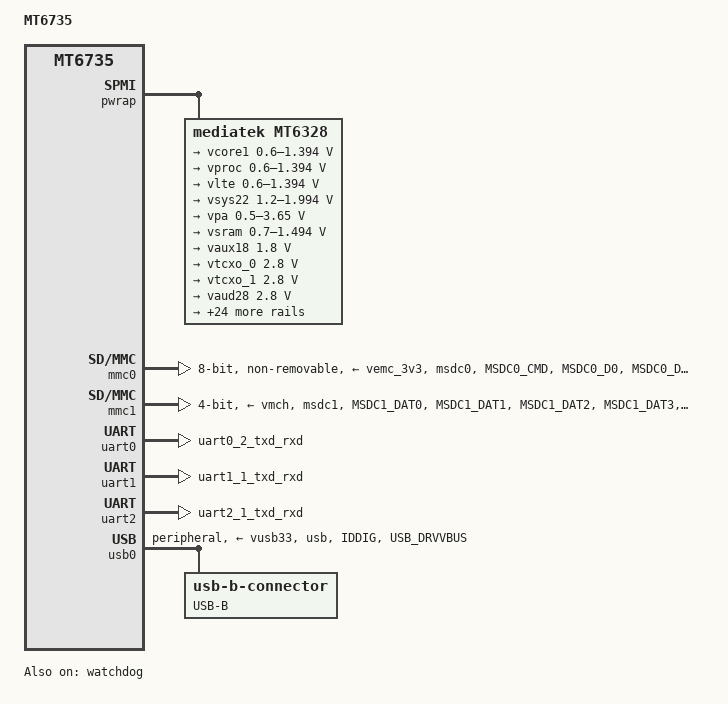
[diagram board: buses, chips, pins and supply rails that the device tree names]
/*
 * Copyright (C) 2018 MediaTek Inc.
 * Author: Ryder Lee <ryder.lee@mediatek.com>
 *
 * SPDX-License-Identifier: (GPL-2.0 OR MIT)
 */

/dts-v1/;
#include "mt6735.dtsi"
#include "mt6735-u-boot.dtsi"

/ {
    #address-cells = <1>;
    #size-cells = <1>;
	model = "MT6735";
	compatible = "mediatek,test", "mediatek,mt6735";

	chosen {
		stdout-path = &uart0;
		};
        
    aliases {
        mmc1 = "/mmc@11230000";
        mmc0 = "/mmc@11240000";
    };
    
    reserved-memory {
        #address-cells = <1>;
        #size-cells = <1>;
        ranges;

       /* 128 KiB reserved for ARM Trusted Firmware (BL31) */
        secmon_reserved: secmon@43000000 {
            reg = <0x43000000 0x20000>;
            no-map;
        };
    };
};

&pwrap {
    status = "okay";

    mt6328: pmic {
		compatible = "mediatek,mt6328";
		interrupt-controller;
//      interrupt-parent = <&pio>;
		interrupts = <GIC_SPI 163 IRQ_TYPE_LEVEL_HIGH>;
		#interrupt-cells = <2>;
        u-boot,dm-pre-reloc;

		regulators {
        
			vcore1: buck_vcore1 {
						regulator-name = "buck_vcore1";
						regulator-always-on;
						regulator-min-microvolt = <600000>;
						regulator-max-microvolt = <1393750>;
                        u-boot,dm-pre-reloc;
                };
                
			vproc: buck_vproc {
						regulator-name = "buck_vproc";
						regulator-always-on;
						regulator-min-microvolt = <600000>;
						regulator-max-microvolt = <1393750>;
                        u-boot,dm-pre-reloc;
                };
                
			vlte: buck_vlte {
						regulator-name = "buck_vlte";
						regulator-always-on;
						regulator-min-microvolt = <600000>;
						regulator-max-microvolt = <1393750>;
                        u-boot,dm-pre-reloc;
                };
                
			vsys22: buck_vsys22 {
						regulator-name = "buck_vsys22";
						regulator-min-microvolt = <1200000>;
						regulator-max-microvolt = <1993750>;
						regulator-ramp-delay = <6250>;
						regulator-enable-ramp-delay = <180>;
						regulator-always-on;
						regulator-boot-on;
                        u-boot,dm-pre-reloc;
				};
                
			vpa: buck_vpa {
						regulator-name = "buck_vpa";
						regulator-min-microvolt = <500000>;
						regulator-max-microvolt = <3650000>;
						regulator-ramp-delay = <50000>;
						regulator-enable-ramp-delay = <180>;
                        u-boot,dm-pre-reloc;
				};
                
			vsram: buck_vsram {
						regulator-name = "buck_vsram";
						regulator-min-microvolt = <700000>;
						regulator-max-microvolt = <1493750>;
						regulator-enable-ramp-delay = <220>;
						regulator-ramp-delay = <6250>;
						regulator-boot-on;
                        u-boot,dm-pre-reloc;
				};
                
			vaux18: fixed_ldo_vaux18 {
						regulator-name = "fixed_ldo_vaux18";
						regulator-min-microvolt = <1800000>;
						regulator-max-microvolt = <1800000>;
						regulator-enable-ramp-delay = <264>;
						regulator-boot-on;
                        u-boot,dm-pre-reloc;
				};

			vtcxo_0: fixed_ldo_vtcxo_0 {
						regulator-name = "fixed_ldo_vtcxo_0";
						regulator-min-microvolt = <2800000>;
						regulator-max-microvolt = <2800000>;
						regulator-enable-ramp-delay = <110>;
						regulator-boot-on;
                        u-boot,dm-pre-reloc;
				};
                
			vtcxo_1: fixed_ldo_vtcxo_1 {
						regulator-name = "fixed_ldo_vtcxo_1";
						regulator-min-microvolt = <2800000>;
						regulator-max-microvolt = <2800000>;
						regulator-enable-ramp-delay = <110>;
                        u-boot,dm-pre-reloc;
				};
                
			vaud28: fixed_ldo_vaud28 {
						regulator-name = "fixed_ldo_vaud28";
						regulator-min-microvolt = <2800000>;
						regulator-max-microvolt = <2800000>;
						regulator-enable-ramp-delay = <264>;
						regulator-boot-on;
                        u-boot,dm-pre-reloc;
				};
                
			vcn28: fixed_ldo_vcn28 {
						regulator-name = "fixed_ldo_vcn28";
						regulator-min-microvolt = <2800000>;
						regulator-max-microvolt = <2800000>;
						regulator-enable-ramp-delay = <264>;
                        u-boot,dm-pre-reloc;
				};
                
			vcama: ldo_vcama {
						regulator-name = "ldo_vcama";
						regulator-min-microvolt = <1500000>;
						regulator-max-microvolt = <2800000>;
						regulator-enable-ramp-delay = <264>;
                        u-boot,dm-pre-reloc;
				};
                
			vcn33_bt: ldo_vcn33_bt {
						regulator-name = "ldo_vcn33_bt";
						regulator-min-microvolt = <3300000>;
						regulator-max-microvolt = <3600000>;
						regulator-enable-ramp-delay = <264>;
                        u-boot,dm-pre-reloc;
				};
                
			vcn33_wifi: ldo_vcn33_wifi {
						regulator-name = "ldo_vcn33_wifi";
						regulator-min-microvolt = <3300000>;
						regulator-max-microvolt = <3600000>;
						regulator-enable-ramp-delay = <264>;
                        u-boot,dm-pre-reloc;
				};
                
			vusb33: ldo_vusb33 {
						regulator-name = "ldo_vusb33";
						regulator-min-microvolt = <3300000>;
						regulator-max-microvolt = <3300000>;
						regulator-enable-ramp-delay = <264>;
						regulator-boot-on;
                        u-boot,dm-pre-reloc;
				};
                
			vefuse: ldo_vefuse {
						regulator-name = "ldo_vefuse";
						regulator-min-microvolt = <1800000>;
						regulator-max-microvolt = <2200000>;
						regulator-enable-ramp-delay = <264>;
                        u-boot,dm-pre-reloc;
				};
                
			sim1: ldo_vsim1 {
						regulator-name = "ldo_vsim1";
						regulator-min-microvolt = <1700000>;
						regulator-max-microvolt = <2100000>;
						regulator-enable-ramp-delay = <264>;
                        u-boot,dm-pre-reloc;
				};
                
			sim2: ldo_vsim2 {
						regulator-name = "ldo_vsim2";
						regulator-min-microvolt = <1700000>;
						regulator-max-microvolt = <2100000>;
						regulator-enable-ramp-delay = <264>;
                        u-boot,dm-pre-reloc;
				};
                
			vemc_3v3: ldo_vemc3v3 {
						regulator-name = "ldo_vemc3v3";
						regulator-min-microvolt = <1800000>;
						regulator-max-microvolt = <3300000>;
						regulator-enable-ramp-delay = <264>;
						regulator-boot-on;
                        u-boot,dm-pre-reloc;
				};
                
			vmch: ldo_vmch {
						regulator-name = "ldo_vmch";
						regulator-min-microvolt = <2900000>;
						regulator-max-microvolt = <3300000>;
						regulator-enable-ramp-delay = <44>;
                        u-boot,dm-pre-reloc;
				};
                
			vtref: fixed_ldo_vtref {
						regulator-name = "fixed_ldo_vtref";
						regulator-min-microvolt = <1800000>;
						regulator-max-microvolt = <1800000>;
						regulator-enable-ramp-delay = <240>;
                        u-boot,dm-pre-reloc;
				};
                
			vmc: ldo_vmc {
						regulator-name = "ldo_vmc";
						regulator-min-microvolt = <1800000>;
						regulator-max-microvolt = <3300000>;
						regulator-enable-ramp-delay = <44>;
                        u-boot,dm-pre-reloc;
				};
                
			vcamaf: ldo_vcamaf {
						regulator-name = "ldo_vcamaf";
						regulator-min-microvolt = <1200000>;
						regulator-max-microvolt = <3300000>;
						regulator-enable-ramp-delay = <264>;
                        u-boot,dm-pre-reloc;
				};
                
			vio28: fixed_ldo_vio28 {
						regulator-name = "fixed_ldo_vio28";
						regulator-min-microvolt = <2800000>;
						regulator-max-microvolt = <2800000>;
						regulator-enable-ramp-delay = <264>;
						regulator-boot-on;
                        u-boot,dm-pre-reloc;
				};

			vrtc: fixed_ldo_vrtc {
						regulator-name = "fixed_ldo_vrtc";
						regulator-min-microvolt = <2800000>;
						regulator-max-microvolt = <2800000>;
						regulator-enable-ramp-delay = <264>;
						regulator-boot-on;
                        u-boot,dm-pre-reloc;
                };
                
			vgp1: ldo_vgp1 {
						regulator-name = "ldo_vgp1";
						regulator-min-microvolt = <1200000>;
						regulator-max-microvolt = <3300000>;
						regulator-enable-ramp-delay = <264>;
                        u-boot,dm-pre-reloc;
				};
                
			vibr: ldo_vibr {
						regulator-name = "ldo_vibr";
						regulator-min-microvolt = <1200000>;
						regulator-max-microvolt = <3300000>;
						regulator-enable-ramp-delay = <44>;
                        u-boot,dm-pre-reloc;
				};
                
			vcamd: ldo_vcamd {
						regulator-name = "ldo_vcamd";
						regulator-min-microvolt = <900000>;
						regulator-max-microvolt = <1500000>;
						regulator-enable-ramp-delay = <264>;
                        u-boot,dm-pre-reloc;
				};
                
			vrf18_0: fixed_ldo_vrf18_0 {
						regulator-name = "fixed_ldo_vrf18_0";
						regulator-min-microvolt = <1825000>;
						regulator-max-microvolt = <1825000>;
						regulator-enable-ramp-delay = <220>;
                        u-boot,dm-pre-reloc;
				};
                
			vrf18_1: fixed_ldo_vrf18_1 {
						regulator-name = "fixed_ldo_vrf18_1";
						regulator-min-microvolt = <1200000>;
						regulator-max-microvolt = <1825000>;
						regulator-enable-ramp-delay = <220>;
                        u-boot,dm-pre-reloc;
				};
                
			vio18: fixed_ldo_vio18 {
						regulator-name = "fixed_ldo_vio18";
						regulator-min-microvolt = <1800000>;
						regulator-max-microvolt = <1800000>;
						regulator-enable-ramp-delay = <264>;
						regulator-boot-on;
                        u-boot,dm-pre-reloc;
				};
                
			vcn18: fixed_ldo_vcn18 {
						regulator-name = "fixed_ldo_vcn18";
						regulator-min-microvolt = <1800000>;
						regulator-max-microvolt = <1800000>;
						regulator-enable-ramp-delay = <44>;
                        u-boot,dm-pre-reloc;
				};
                
			vcamio: ldo_vcamio {
						regulator-name = "ldo_vcamio";
						regulator-min-microvolt = <1200000>;
						regulator-max-microvolt = <1800000>;
						regulator-enable-ramp-delay = <220>;
                        u-boot,dm-pre-reloc;
				};
                
			vm: ldo_vm {
						regulator-name = "ldo_vm";
						regulator-min-microvolt = <1240000>;
						regulator-max-microvolt = <1540000>;
						regulator-enable-ramp-delay = <264>;
						regulator-boot-on;
                        u-boot,dm-pre-reloc;
                };
            };
            
		devices {
        
            keys: mt6328_keys {
				compatible = "mediatek,mt6328_keys";
				#gpio-cells = <2>;
				gpio-controller;
                u-boot,dm-pre-reloc;
            };
        };
    };
};

&dramc {
    emi_cona = <0x2a052>;       /* 0x10203000 */
    drvctrl0 = <0xaa00aa00>;    /* 0x102140b8 */
    drvctrl1 = <0xaa00aa00>;    /* 0x102140bc */
    actim = <0x559a45d6>;       /* 0x10214000 */
    gddr3ctl = <0x1000000>;     /* 0x102140f4 */
    conf1 = <0xf0048683>;       /* 0x10214004 */
    ddr2ctl = <0xc00641d1>;     /* 0x1021407c */
    test2_1 = <0x55000000>;     /* 0x1020e03c */
    test2_2 = <0x3ff>;          /* 0x1020e040 */
    test2_3 = <0xbf0b0401>;     /* 0x10214044 */
    conf2 = <0x180ae50>;        /* 0x10214008 */
    pd_ctrl = <0xd1644742>;     /* 0x102141dc */
    padctl3 = <0x10>;           /* 0x10213014 */
    padctl4 = <0x11>;           /* 0x102140e4 */
    actim1 = <0x11001330>;      /* 0x102141e8 */
    misctl0 = <0x17800000>;     /* 0x102140fc */
    actim05t = <0x1420>;        /* 0x102141f8 */
    modereg1 = <0xc30001>;      /* 0x10214088 */
    modereg2 = <0x80002>;       /* 0x10214088 */
    modereg3 = <0x20003>;       /* 0x10214088 */
    modereg5 = <0x1>;           /* 0x10214088 */
    modereg10 = <0xff000a>;     /* 0x10214088 */
    modereg63 = <0x3f>;         /* 0x10214088 */
    dqsctl1 = <0x1c004004>;     /* 0x102140e0 */
    dqsgctl = <0xaa0800aa>;     /* 0x10213140 */
    dqidly1 = <0x80c0b09>;      /* 0x10214210 */
    dqidly2 = <0xe0f0b0e>;      /* 0x10214214 */
    dqidly3 = <0x3030405>;      /* 0x10214218 */
    dqidly4 = <0x7090506>;      /* 0x1021421c */
    dqidly5 = <0xb0c0b09>;      /* 0x10214220 */
    dqidly6 = <0xf0f0d0f>;      /* 0x10214224 */
    dqidly7 = <0x6060606>;      /* 0x10214228 */
    dqidly8 = <0x809080a>;      /* 0x1021422c */
    dqodly1 = <0x1110000>;      /* 0x10213200 */
    dqodly2 = <0x11110000>;     /* 0x10213204 */
    dqodly3 = <0x0>;            /* 0x10213208 */
    dqodly4 = <0x0>;            /* 0x1021320c */
    r0deldly = <0x1c1b1d1b>;    /* 0x10214018 */
    r1deldly = <0x1d1c1c1c>;    /* 0x1021401c */
    r0dqsien = <0xc8484848>;    /* 0x10214094 */
    r1dqsien = <0x48484848>;    /* 0x10214098 */
    spcmd = <0x100>;            /* 0x102141e4 */
};

&mmc0 {
	pinctrl-names = "default";
	pinctrl-0 = <&mmc0_pins_default>;
	bus-width = <8>;
	cap-mmc-highspeed;
	mmc-hs400-1_8v;
	cap-mmc-hw-reset;
	max-frequency = <200000000>;
	vmmc-supply = <&vemc_3v3>;
	vqmmc-supply = <&vio18>;
	non-removable;
	status = "okay";
};

&mmc1 {
	pinctrl-names = "default";
	pinctrl-0 = <&mmc1_pins_default>;
	status = "okay";
	bus-width = <4>;
	max-frequency = <200000000>;
	cap-sd-highspeed;
	sd-uhs-sdr104;
	vmmc-supply = <&vmch>;
	vqmmc-supply = <&vmc>;
};

&pinctrl {
	mmc0_pins_default: mmc0default {
        u-boot,dm-pre-reloc;
		mux {
			function = "msdc";
			groups =  "msdc0";
            u-boot,dm-pre-reloc;
		};

		conf-cmd-data {
			pins = "MSDC0_CMD", "MSDC0_D0", "MSDC0_D1",
			       "MSDC0_D2", "MSDC0_D3", "MSDC0_D4",
			       "MSDC0_D5", "MSDC0_D6", "MSDC0_D7";
			input-enable;
            drive-strength = <6>;
			bias-pull-up;
            u-boot,dm-pre-reloc;
		};

		conf-clk {
			pins = "MSDC0_CLK";
			bias-pull-down;
            drive-strength = <6>;
            u-boot,dm-pre-reloc;
		};

		conf-ds {
			pins = "MSDC0_DSL";
			bias-pull-down;
            drive-strength = <6>;
            u-boot,dm-pre-reloc;
		};

		conf-rst {
			pins = "MSDC0_RSTB";
			bias-pull-up;
            drive-strength = <6>;
            u-boot,dm-pre-reloc;
		};
	};

	mmc1_pins_default: mmc1default {
        u-boot,dm-pre-reloc;
		mux {
			function = "msdc";
			groups =  "msdc1";
            u-boot,dm-pre-reloc;
		};

		conf-cmd-data {
			pins = "MSDC1_DAT0", "MSDC1_DAT1", "MSDC1_DAT2",
			       "MSDC1_DAT3", "MSDC1_CMD";
			input-enable;
            drive-strength = <6>;
			bias-pull-up;
            u-boot,dm-pre-reloc;
		};

		conf-clk {
			pins = "MSDC1_CLK";
			bias-pull-down;
            drive-strength = <6>;
            u-boot,dm-pre-reloc;
		};

	};

	uart0_pins_a: uart0-default {
        u-boot,dm-pre-reloc;
		mux {
			function = "uart";
			groups =  "uart0_2_txd_rxd";
            u-boot,dm-pre-reloc;
		};
	};

	uart1_pins_a: uart1-default {
		mux {
			function = "uart";
			groups =  "uart1_1_txd_rxd";
            u-boot,dm-pre-reloc;
		};
	};

	uart2_pins_a: uart2-default {
		mux {
			function = "uart";
			groups =  "uart2_1_txd_rxd";
            u-boot,dm-pre-reloc;
		};
	};

	uart3_pins_a: uart3-default {
		mux {
			function = "uart";
			groups =  "uart3_1_txd_rxd";
            u-boot,dm-pre-reloc;
		};
	};

	usb_pins_a: usb-default {
		mux {
			function = "usb";
			groups = "usb";
            u-boot,dm-pre-reloc;
		};

		conf-host {
			pins = "IDDIG", "USB_DRVVBUS";
			input-enable;
			bias-pull-up;
            u-boot,dm-pre-reloc;
		};
	};

	usb_pins_b: usb-otg {
		mux {
			function = "usb";
			groups = "usb";
            u-boot,dm-pre-reloc;
		};

		conf-otg {
			pins = "IDDIG", "USB_DRVVBUS";
			input-enable;
			bias-pull-down;
            u-boot,dm-pre-reloc;
		};
	};
};

&uart0 {
	pinctrl-names = "default";
	pinctrl-0 = <&uart0_pins_a>;
	status = "okay";
};

&uart1 {
	pinctrl-names = "default";
	pinctrl-0 = <&uart1_pins_a>;
	status = "okay";
};

&uart2 {
	pinctrl-names = "default";
	pinctrl-0 = <&uart2_pins_a>;
	status = "okay";
};

&watchdog {
	status = "okay";
};

&usb0 {
	status = "okay";
	vbus-supply = <&vusb33>;
	pinctrl-names = "otg", "host";
	pinctrl-0 = <&usb_pins_b>;
	pinctrl-1 = <&usb_pins_a>;
	dr_mode = "peripheral";

	usb_con_b: connector {
		compatible = "usb-b-connector";
		label = "USB-B";
	};
};

